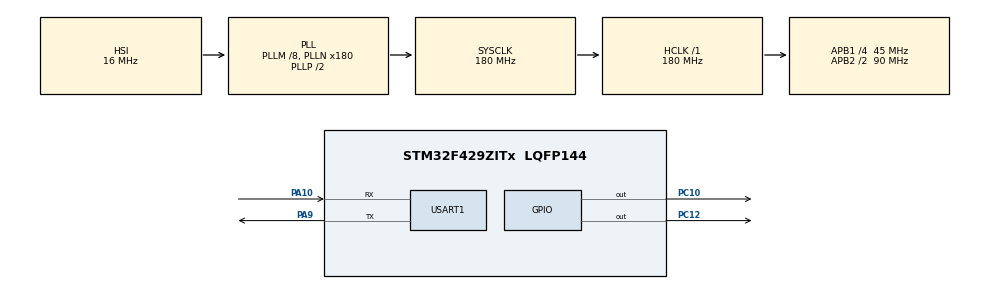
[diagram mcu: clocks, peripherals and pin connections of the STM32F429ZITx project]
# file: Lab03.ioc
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Mcu.Family=STM32F4
Mcu.Name=STM32F429ZITx
Mcu.Package=LQFP144
NVIC.PriorityGroup=NVIC_PRIORITYGROUP_4
PA10.Mode=Asynchronous
PA10.Signal=USART1_RX
PA9.Mode=Asynchronous
PA9.Signal=USART1_TX
PC10.Signal=GPIO_Output
PC12.Signal=GPIO_Output
ProjectManager.HeapSize=0x200
ProjectManager.StackSize=0x400
ProjectManager.TargetToolchain=STM32CubeIDE
RCC.48MHZClocksFreq_Value=90000000
RCC.AHBFreq_Value=180000000
RCC.APB1CLKDivider=RCC_HCLK_DIV4
RCC.APB1Freq_Value=45000000
RCC.APB1TimFreq_Value=90000000
RCC.APB2CLKDivider=RCC_HCLK_DIV2
RCC.APB2Freq_Value=90000000
RCC.APB2TimFreq_Value=180000000
RCC.CortexFreq_Value=180000000
RCC.HCLKFreq_Value=180000000
RCC.HSE_VALUE=25000000
RCC.HSI_VALUE=16000000
RCC.LSE_VALUE=32768
RCC.PLLM=8
RCC.PLLN=180
RCC.SYSCLKFreq_VALUE=180000000
RCC.SYSCLKSource=RCC_SYSCLKSOURCE_PLLCLK
RCC.VCOOutputFreq_Value=360000000
USART1.VirtualMode=VM_ASYNC
board=custom

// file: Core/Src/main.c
/* USER CODE BEGIN Header */
/**
  ******************************************************************************
  * @file           : main.c
  * @brief          : Main program body
  ******************************************************************************
  * @attention
  *
  * <h2><center>&copy; Copyright (c) 2021 STMicroelectronics.
  * All rights reserved.</center></h2>
  *
  * This software component is licensed by ST under BSD 3-Clause license,
  * the "License"; You may not use this file except in compliance with the
  * License. You may obtain a copy of the License at:
  *                        opensource.org/licenses/BSD-3-Clause
  *
  ******************************************************************************
  */
/* USER CODE END Header */
#include "main.h"
#include "usart.h"
#include "gpio.h"

/* USER CODE BEGIN Includes */
#include "string.h"
/* USER CODE END Includes */

void SystemClock_Config(void);

int main(void)
{
  /* USER CODE BEGIN 1 */
	GPIO_PinState init = RESET;
	GPIO_PinState shutdown = RESET;

	char name[] = "\t\t 62010948\r\n\t\t Sirawit Sukwattanavit\r\n";
	char quit[] = "\t\t Quit";
	char unknown[] = "\t\t Unknown Command\r\n";
	char newline[] = "\r\n";

  /* USER CODE END 1 */

  /* MCU Configuration--------------------------------------------------------*/

  /* Reset of all peripherals, Initializes the Flash interface and the Systick. */
  HAL_Init();

  /* Configure the system clock */
  SystemClock_Config();

  /* Initialize all configured peripherals */
  MX_GPIO_Init();
  MX_USART1_UART_Init();
  /* USER CODE BEGIN 2 */
  HAL_GPIO_WritePin(GPIOC, GPIO_PIN_12, SET);
  HAL_GPIO_WritePin(GPIOC, GPIO_PIN_10, SET);

  /* USER CODE END 2 */

  /* Infinite loop */
  /* USER CODE BEGIN WHILE */
  while (1)
  {

	  //No.1 Sending string
//	  char str[] = "Hello, World!!\r\n";
//	  //char a = 'a';
//	  //while(__HAL_UART_GET_FLAG(&huart1, UART_FLAG_TC)== RESET){}
//	  HAL_UART_Transmit(&huart1, (uint8_t*) str, strlen(str), 1000);
//	  //HAL_UART_Transmit(&huart1, (uint8_t*) &a, 1, 1000);
//	  HAL_Delay(500);

	  //No.2 Sending character A
//	  char ch1 = 'A';
//	  while(__HAL_UART_GET_FLAG(&huart1, UART_FLAG_TC)== RESET){} // Check if Transmit complete
//	  HAL_UART_Transmit(&huart1, (uint8_t*) &ch1, 1, 1000);
//	  HAL_Delay(500);

	  //No.3 Input character
//	  char inp[] = "\r\nInput => ";
//	  while(__HAL_UART_GET_FLAG(&huart1, UART_FLAG_TC)== RESET){}
//	  HAL_UART_Transmit(&huart1, (uint8_t*) inp, strlen(inp), 1000);
//
//	  char ch1;
//	  //Waiting Receive...
//	  while(__HAL_UART_GET_FLAG(&huart1, UART_FLAG_RXNE)== RESET) {}
//	  HAL_UART_Receive(&huart1, (uint8_t*) &ch1, 1, 1000);
//
//	  //Send what Receive ->
//	  while(__HAL_UART_GET_FLAG(&huart1, UART_FLAG_TC)== RESET){}
//	  HAL_UART_Transmit(&huart1, (uint8_t*) &ch1 , 1, 1000);
//
//	  if (ch1 == 'q'){
//		  char quit[] = "\r\nQUIT";
//		  while(__HAL_UART_GET_FLAG(&huart1, UART_FLAG_TC)== RESET){}
//		  HAL_UART_Transmit(&huart1, (uint8_t*) quit, strlen(quit), 1000);
//		  break;
//	  }

	  //No.4
	  char display[] = "Display Blinking LED PASS (1, 2)\r\nDisplay Group Members PRESS m\r\nQuit PRESS q";
	  char inp[] = "\tInput => ";

	  //Initiate
	  if(init == GPIO_PIN_RESET){
		  HAL_UART_Transmit(&huart1, (uint8_t*) display, strlen(display), 1000);
		  init = GPIO_PIN_SET;
	  }

	  //Sending Input
	  while(__HAL_UART_GET_FLAG(&huart1, UART_FLAG_TC)== RESET){}
	  HAL_UART_Transmit(&huart1, (uint8_t*) inp, strlen(inp), 1000);

	  char ch1;
	  //Waiting Receive...
	  while(__HAL_UART_GET_FLAG(&huart1, UART_FLAG_RXNE)== RESET) {}
	  HAL_UART_Receive(&huart1, (uint8_t*) &ch1, 1, 1000);

	  //Sending what receive to terminal
	  while(__HAL_UART_GET_FLAG(&huart1, UART_FLAG_TC)== RESET){}
	  HAL_UART_Transmit(&huart1, (uint8_t*) &ch1, 1, 1000);

	  //Newline
	  while(__HAL_UART_GET_FLAG(&huart1, UART_FLAG_TC)== RESET){}
	  HAL_UART_Transmit(&huart1, (uint8_t*) newline, strlen(newline) , 1000);

	  while(__HAL_UART_GET_FLAG(&huart1, UART_FLAG_TC)== RESET){}
	  switch (ch1){
	  case '1':
		  for(int i = 0; i<3 ;i++){
			  HAL_GPIO_WritePin(GPIOC, GPIO_PIN_12, RESET);
			  HAL_Delay(300);
			  HAL_GPIO_WritePin(GPIOC, GPIO_PIN_12, SET);
			  HAL_Delay(300);
		  }
		  break;
	  case '2':
		  for(int i = 0; i<3 ;i++){
			  HAL_GPIO_WritePin(GPIOC, GPIO_PIN_10, RESET);
			  HAL_Delay(300);
			  HAL_GPIO_WritePin(GPIOC, GPIO_PIN_10, SET);
			  HAL_Delay(300);
		  }
		  break;
	  case 'm':
		  HAL_UART_Transmit(&huart1, (uint8_t*) name, strlen(name), 1000);
		  break;
	  case 'q':
		  shutdown = 1;
		  HAL_UART_Transmit(&huart1, (uint8_t*) quit, strlen(quit), 1000);
		  break;
	  default:
		  HAL_UART_Transmit(&huart1, (uint8_t*) unknown, strlen(unknown), 1000);
	  }

	  while(__HAL_UART_GET_FLAG(&huart1, UART_FLAG_TC)== RESET){}
	  HAL_UART_Transmit(&huart1, (uint8_t*) newline, strlen(newline) , 1000);

	  //Quit
	  if(shutdown == 1){
		  break;
	  }

    /* USER CODE END WHILE */

  }
}

void SystemClock_Config(void)
{
  RCC_OscInitTypeDef RCC_OscInitStruct = {0};
  RCC_ClkInitTypeDef RCC_ClkInitStruct = {0};

  /** Configure the main internal regulator output voltage
  */
  __HAL_RCC_PWR_CLK_ENABLE();
  __HAL_PWR_VOLTAGESCALING_CONFIG(PWR_REGULATOR_VOLTAGE_SCALE1);
  /** Initializes the RCC Oscillators according to the specified parameters
  * in the RCC_OscInitTypeDef structure.
  */
  RCC_OscInitStruct.OscillatorType = RCC_OSCILLATORTYPE_HSI;
  RCC_OscInitStruct.HSIState = RCC_HSI_ON;
  RCC_OscInitStruct.HSICalibrationValue = RCC_HSICALIBRATION_DEFAULT;
  RCC_OscInitStruct.PLL.PLLState = RCC_PLL_ON;
  RCC_OscInitStruct.PLL.PLLSource = RCC_PLLSOURCE_HSI;
  RCC_OscInitStruct.PLL.PLLM = 8;
  RCC_OscInitStruct.PLL.PLLN = 180;
  RCC_OscInitStruct.PLL.PLLP = RCC_PLLP_DIV2;
  RCC_OscInitStruct.PLL.PLLQ = 4;
  if (HAL_RCC_OscConfig(&RCC_OscInitStruct) != HAL_OK)
  {
    Error_Handler();
  }
  /** Activate the Over-Drive mode
  */
  if (HAL_PWREx_EnableOverDrive() != HAL_OK)
  {
    Error_Handler();
  }
  /** Initializes the CPU, AHB and APB buses clocks
  */
  RCC_ClkInitStruct.ClockType = RCC_CLOCKTYPE_HCLK|RCC_CLOCKTYPE_SYSCLK
                              |RCC_CLOCKTYPE_PCLK1|RCC_CLOCKTYPE_PCLK2;
  RCC_ClkInitStruct.SYSCLKSource = RCC_SYSCLKSOURCE_PLLCLK;
  RCC_ClkInitStruct.AHBCLKDivider = RCC_SYSCLK_DIV1;
  RCC_ClkInitStruct.APB1CLKDivider = RCC_HCLK_DIV4;
  RCC_ClkInitStruct.APB2CLKDivider = RCC_HCLK_DIV2;

  if (HAL_RCC_ClockConfig(&RCC_ClkInitStruct, FLASH_LATENCY_5) != HAL_OK)
  {
    Error_Handler();
  }
}

void Error_Handler(void)
{
  __disable_irq();
  while (1)
  {
  }
}

/************************ (C) COPYRIGHT STMicroelectronics *****END OF FILE****/
